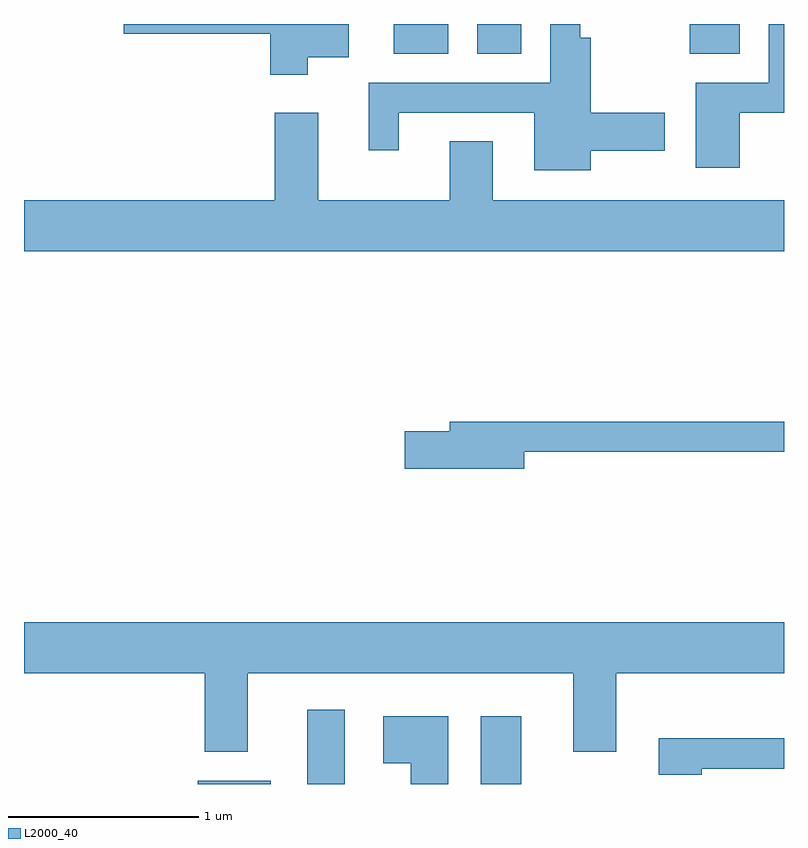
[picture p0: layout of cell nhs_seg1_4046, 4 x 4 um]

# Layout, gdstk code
import gdstk
lib = gdstk.Library(unit=1e-6, precision=1e-09)
def R(c, l, rs):  # rectangles x0, y0, x1, y1
    for r in rs: c.add(gdstk.rectangle(r[:2], r[2:], *l))
def P(c, l, *ps):  # polygons
    for p in ps: c.add(gdstk.Polygon(p, *l))
L2000_40 = (2000, 40)

nhs_seg1_4046 = lib.new_cell('nhs_seg1_4046')
R(nhs_seg1_4046, L2000_40, [(308.526,845.712,308.909,845.729), (309.101,845.712,309.299,846.104), (310.016,845.712,310.229,846.069), (309.556,849.556,309.844,849.712), (309.996,849.556,310.229,849.712), (311.116,849.556,311.379,849.712)])
P(nhs_seg1_4046, L2000_40, [(309.104,849.536),(309.319,849.536),(309.319,849.712),(308.136,849.712),(308.136,849.661),(308.906,849.661),(308.906,849.446),(309.104,849.446)],
  [(310.594,849.046),(310.984,849.046),(310.984,849.244),(310.594,849.244),(310.594,849.639),(310.539,849.639),(310.539,849.712),(310.381,849.712),(310.381,849.404),(309.426,849.404),(309.426,849.048),(309.584,849.048),(309.584,849.246),(310.296,849.246),(310.296,848.941),(310.594,848.941)],
  [(311.379,849.246),(311.611,849.246),(311.611,849.712),(311.531,849.712),(311.531,849.404),(311.146,849.404),(311.146,848.956),(311.379,848.956)],
  [(311.611,848.784),(310.079,848.784),(310.079,849.094),(309.851,849.094),(309.851,848.784),(309.159,848.784),(309.159,849.244),(308.931,849.244),(308.931,848.784),(307.611,848.784),(307.611,848.516),(311.611,848.516)],
  [(310.244,847.461),(311.611,847.461),(311.611,847.619),(309.851,847.619),(309.851,847.569),(309.616,847.569),(309.616,847.371),(310.244,847.371)],
  [(308.789,846.296),(310.501,846.296),(310.501,845.881),(310.729,845.881),(310.729,846.296),(311.611,846.296),(311.611,846.564),(307.611,846.564),(307.611,846.296),(308.561,846.296),(308.561,845.881),(308.789,845.881)],
  [(309.844,846.069),(309.501,846.069),(309.501,845.821),(309.646,845.821),(309.646,845.712),(309.844,845.712)],
  [(311.179,845.791),(311.611,845.791),(311.611,845.954),(310.951,845.954),(310.951,845.761),(311.179,845.761)])

lib.write_gds('nhs_seg1_4046.gds')
